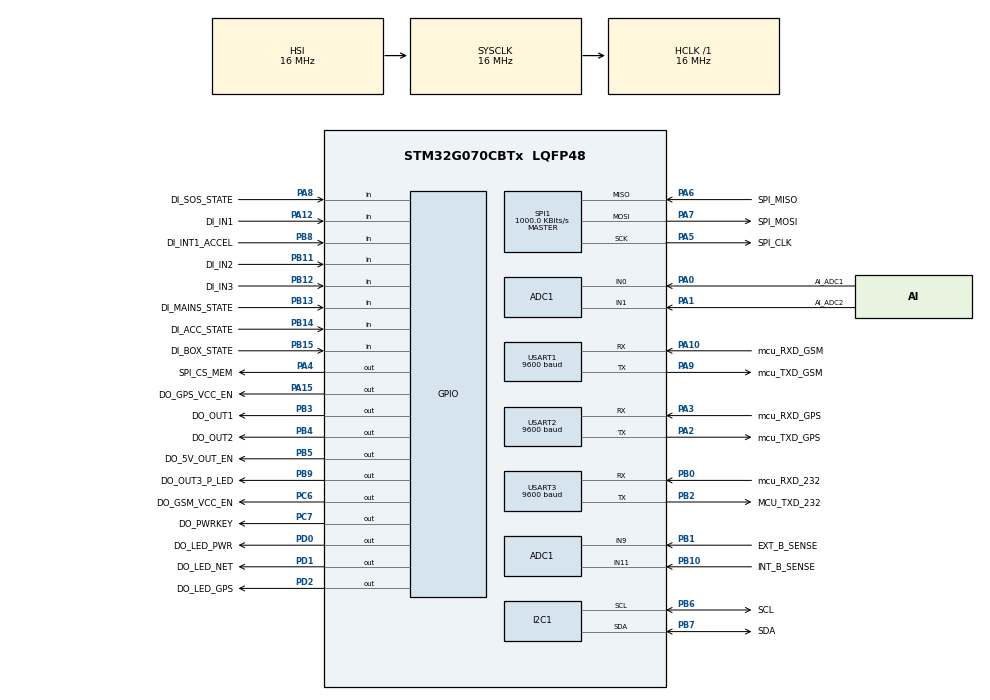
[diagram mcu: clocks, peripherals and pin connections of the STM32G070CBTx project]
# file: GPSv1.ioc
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ADC1.Channel-1\#ChannelRegularConversion=ADC_CHANNEL_1
ADC1.Channel-2\#ChannelRegularConversion=ADC_CHANNEL_9
ADC1.Channel-3\#ChannelRegularConversion=ADC_CHANNEL_11
ADC1.NbrOfConversion=4
ADC1.NbrOfConversionFlag=1
ADC1.Rank-1\#ChannelRegularConversion=2
ADC1.Rank-2\#ChannelRegularConversion=3
ADC1.Rank-3\#ChannelRegularConversion=4
ADC1.SamplingTime-1\#ChannelRegularConversion=ADC_SAMPLINGTIME_COMMON_1
ADC1.SamplingTime-2\#ChannelRegularConversion=ADC_SAMPLINGTIME_COMMON_1
ADC1.SamplingTime-3\#ChannelRegularConversion=ADC_SAMPLINGTIME_COMMON_1
ADC1.master=1
Dma.ADC1.0.Direction=DMA_PERIPH_TO_MEMORY
Dma.ADC1.0.EventEnable=DISABLE
Dma.ADC1.0.Instance=DMA1_Channel1
Dma.ADC1.0.MemDataAlignment=DMA_MDATAALIGN_WORD
Dma.ADC1.0.MemInc=DMA_MINC_ENABLE
Dma.ADC1.0.Mode=DMA_CIRCULAR
Dma.ADC1.0.PeriphDataAlignment=DMA_PDATAALIGN_WORD
Dma.ADC1.0.PeriphInc=DMA_PINC_DISABLE
Dma.ADC1.0.Polarity=HAL_DMAMUX_REQ_GEN_RISING
Dma.ADC1.0.Priority=DMA_PRIORITY_LOW
Dma.ADC1.0.RequestNumber=1
Dma.ADC1.0.SignalID=NONE
Dma.ADC1.0.SyncEnable=ENABLE
Dma.ADC1.0.SyncPolarity=HAL_DMAMUX_SYNC_RISING
Dma.ADC1.0.SyncRequestNumber=1
Dma.ADC1.0.SyncSignalID=NONE
Dma.Request0=ADC1
Dma.Request1=USART1_RX
Dma.Request2=USART2_RX
Dma.Request3=USART3_TX
Dma.USART1_RX.1.Direction=DMA_PERIPH_TO_MEMORY
Dma.USART1_RX.1.EventEnable=DISABLE
Dma.USART1_RX.1.Instance=DMA1_Channel2
Dma.USART1_RX.1.MemDataAlignment=DMA_MDATAALIGN_BYTE
Dma.USART1_RX.1.MemInc=DMA_MINC_ENABLE
Dma.USART1_RX.1.Mode=DMA_NORMAL
Dma.USART1_RX.1.PeriphDataAlignment=DMA_PDATAALIGN_BYTE
Dma.USART1_RX.1.PeriphInc=DMA_PINC_DISABLE
Dma.USART1_RX.1.Polarity=HAL_DMAMUX_REQ_GEN_RISING
Dma.USART1_RX.1.Priority=DMA_PRIORITY_LOW
Dma.USART1_RX.1.RequestNumber=1
Dma.USART1_RX.1.SignalID=NONE
Dma.USART1_RX.1.SyncEnable=DISABLE
Dma.USART1_RX.1.SyncPolarity=HAL_DMAMUX_SYNC_NO_EVENT
Dma.USART1_RX.1.SyncRequestNumber=1
Dma.USART1_RX.1.SyncSignalID=NONE
Dma.USART2_RX.2.Direction=DMA_PERIPH_TO_MEMORY
Dma.USART2_RX.2.EventEnable=DISABLE
Dma.USART2_RX.2.Instance=DMA1_Channel3
Dma.USART2_RX.2.MemDataAlignment=DMA_MDATAALIGN_BYTE
Dma.USART2_RX.2.MemInc=DMA_MINC_ENABLE
Dma.USART2_RX.2.Mode=DMA_NORMAL
Dma.USART2_RX.2.PeriphDataAlignment=DMA_PDATAALIGN_BYTE
Dma.USART2_RX.2.PeriphInc=DMA_PINC_DISABLE
Dma.USART2_RX.2.Polarity=HAL_DMAMUX_REQ_GEN_RISING
Dma.USART2_RX.2.Priority=DMA_PRIORITY_LOW
Dma.USART2_RX.2.RequestNumber=1
Dma.USART2_RX.2.SignalID=NONE
Dma.USART2_RX.2.SyncEnable=DISABLE
Dma.USART2_RX.2.SyncPolarity=HAL_DMAMUX_SYNC_NO_EVENT
Dma.USART2_RX.2.SyncRequestNumber=1
Dma.USART2_RX.2.SyncSignalID=NONE
Dma.USART3_TX.3.Direction=DMA_MEMORY_TO_PERIPH
Dma.USART3_TX.3.EventEnable=DISABLE
Dma.USART3_TX.3.Instance=DMA1_Channel4
Dma.USART3_TX.3.MemDataAlignment=DMA_MDATAALIGN_BYTE
Dma.USART3_TX.3.MemInc=DMA_MINC_ENABLE
Dma.USART3_TX.3.Mode=DMA_NORMAL
Dma.USART3_TX.3.PeriphDataAlignment=DMA_PDATAALIGN_BYTE
Dma.USART3_TX.3.PeriphInc=DMA_PINC_DISABLE
Dma.USART3_TX.3.Polarity=HAL_DMAMUX_REQ_GEN_RISING
Dma.USART3_TX.3.Priority=DMA_PRIORITY_LOW
Dma.USART3_TX.3.RequestNumber=1
Dma.USART3_TX.3.SignalID=NONE
Dma.USART3_TX.3.SyncEnable=DISABLE
Dma.USART3_TX.3.SyncPolarity=HAL_DMAMUX_SYNC_NO_EVENT
Dma.USART3_TX.3.SyncRequestNumber=1
Dma.USART3_TX.3.SyncSignalID=NONE
I2C1.Timing=0x00000E14
Mcu.Family=STM32G0
Mcu.Name=STM32G070CBTx
Mcu.Package=LQFP48
NRST.GPIO_Label=MRST
NRST.GPIO_ModeDefaultEXTI=GPIO_MODE_IT_RISING
NRST.GPIO_PuPd=GPIO_NOPULL
NRST.Signal=GPXTINRST
NVIC.DMA1_Ch4_7_DMAMUX1_OVR_IRQn=true\:0\:0\:false\:false\:true\:false\:true
NVIC.DMA1_Channel1_IRQn=true\:0\:0\:false\:false\:true\:false\:true
NVIC.DMA1_Channel2_3_IRQn=true\:0\:0\:false\:false\:true\:false\:true
NVIC.TIM6_IRQn=true\:0\:0\:false\:false\:true\:true\:true
NVIC.USART1_IRQn=true\:0\:0\:false\:false\:true\:true\:true
NVIC.USART2_IRQn=true\:0\:0\:false\:false\:true\:true\:true
NVIC.USART3_4_IRQn=true\:0\:0\:false\:false\:true\:true\:true
PA0.GPIO_Label=AI_ADC1
PA0.GPIO_Mode=GPIO_MODE_ANALOG
PA0.GPIO_PuPd=GPIO_NOPULL
PA0.Signal=SharedAnalog_PA0
PA1.GPIO_Label=AI_ADC2
PA1.GPIO_Mode=GPIO_MODE_ANALOG
PA1.GPIO_PuPd=GPIO_NOPULL
PA1.Signal=SharedAnalog_PA1
PA10.GPIO_FMPA10=__NULL
PA10.GPIO_Label=mcu_RXD_GSM
PA10.GPIO_ModeDefaultPP=GPIO_MODE_AF_PP
PA10.GPIO_PuPd=GPIO_NOPULL
PA10.GPIO_Speed=GPIO_SPEED_FREQ_LOW
PA10.Mode=Asynchronous
PA10.Signal=USART1_RX
PA12\ [PA10].GPIO_Label=DI_IN1
PA12\ [PA10].GPIO_Mode=GPIO_MODE_INPUT
PA12\ [PA10].GPIO_PuPd=GPIO_NOPULL
PA12\ [PA10].Signal=GPIO_Input
PA13.GPIO_Label=SWDIO
PA13.Mode=Serial_Wire
PA13.Signal=SYS_SWDIO
PA14-BOOT0.GPIO_Label=SWCLK
PA14-BOOT0.Mode=Serial_Wire
PA14-BOOT0.Signal=SYS_SWCLK
PA15.GPIO_Label=DO_GPS_VCC_EN
PA15.GPIO_ModeDefaultOutputPP=GPIO_MODE_OUTPUT_PP
PA15.GPIO_PuPd=GPIO_NOPULL
PA15.GPIO_Speed=GPIO_SPEED_FREQ_LOW
PA15.PinState=GPIO_PIN_RESET
PA15.Signal=GPIO_Output
PA2.GPIO_Label=mcu_TXD_GPS
PA2.GPIO_ModeDefaultPP=GPIO_MODE_AF_PP
PA2.GPIO_PuPd=GPIO_NOPULL
PA2.GPIO_Speed=GPIO_SPEED_FREQ_LOW
PA2.Mode=Asynchronous
PA2.PinState=GPIO_PIN_RESET
PA2.Signal=USART2_TX
PA3.GPIO_Label=mcu_RXD_GPS
PA3.GPIO_ModeDefaultPP=GPIO_MODE_AF_PP
PA3.GPIO_PuPd=GPIO_NOPULL
PA3.GPIO_Speed=GPIO_SPEED_FREQ_LOW
PA3.Mode=Asynchronous
PA3.PinState=GPIO_PIN_RESET
PA3.Signal=USART2_RX
PA4.GPIO_Label=SPI_CS_MEM
PA4.Signal=GPIO_Output
PA5.GPIO_Label=SPI_CLK
PA5.GPIO_Mode=GPIO_MODE_AF_PP
PA5.GPIO_PuPd=GPIO_NOPULL
PA5.GPIO_Speed=GPIO_SPEED_FREQ_LOW
PA5.Mode=Full_Duplex_Master
PA5.PinState=GPIO_PIN_RESET
PA5.Signal=SPI1_SCK
PA6.GPIO_Label=SPI_MISO
PA6.GPIO_Mode=GPIO_MODE_AF_PP
PA6.GPIO_PuPd=GPIO_NOPULL
PA6.GPIO_Speed=GPIO_SPEED_FREQ_LOW
PA6.Mode=Full_Duplex_Master
PA6.PinState=GPIO_PIN_RESET
PA6.Signal=SPI1_MISO
PA7.GPIO_Label=SPI_MOSI
PA7.GPIO_Mode=GPIO_MODE_AF_PP
PA7.GPIO_PuPd=GPIO_NOPULL
PA7.GPIO_Speed=GPIO_SPEED_FREQ_LOW
PA7.Mode=Full_Duplex_Master
PA7.PinState=GPIO_PIN_RESET
PA7.Signal=SPI1_MOSI
PA8.GPIO_Label=DI_SOS_STATE
PA8.GPIO_Mode=GPIO_MODE_INPUT
PA8.GPIO_PuPd=GPIO_NOPULL
PA8.Signal=GPIO_Input
PA9.GPIO_FMPA9=__NULL
PA9.GPIO_Label=mcu_TXD_GSM
PA9.GPIO_ModeDefaultPP=GPIO_MODE_AF_PP
PA9.GPIO_PuPd=GPIO_NOPULL
PA9.GPIO_Speed=GPIO_SPEED_FREQ_LOW
PA9.Mode=Asynchronous
PA9.Signal=USART1_TX
PB0.GPIO_Label=mcu_RXD_232
PB0.GPIO_ModeDefaultPP=GPIO_MODE_AF_PP
PB0.GPIO_PuPd=GPIO_NOPULL
PB0.GPIO_Speed=GPIO_SPEED_FREQ_LOW
PB0.Mode=Asynchronous
PB0.PinState=GPIO_PIN_RESET
PB0.Signal=USART3_RX
PB1.GPIO_Label=EXT_B_SENSE
PB1.GPIO_Mode=GPIO_MODE_ANALOG
PB1.GPIO_PuPd=GPIO_NOPULL
PB1.Signal=SharedAnalog_PB1
PB10.GPIO_Label=INT_B_SENSE
PB10.GPIO_Mode=GPIO_MODE_ANALOG
PB10.GPIO_PuPd=GPIO_NOPULL
PB10.Signal=SharedAnalog_PB10
PB11.GPIO_Label=DI_IN2
PB11.GPIO_Mode=GPIO_MODE_INPUT
PB11.GPIO_PuPd=GPIO_NOPULL
PB11.Signal=GPIO_Input
PB12.GPIO_Label=DI_IN3
PB12.GPIO_Mode=GPIO_MODE_INPUT
PB12.GPIO_PuPd=GPIO_NOPULL
PB12.Signal=GPIO_Input
PB13.GPIO_Label=DI_MAINS_STATE
PB13.GPIO_Mode=GPIO_MODE_INPUT
PB13.GPIO_PuPd=GPIO_NOPULL
PB13.Signal=GPIO_Input
PB14.GPIO_Label=DI_ACC_STATE
PB14.GPIO_Mode=GPIO_MODE_INPUT
PB14.GPIO_PuPd=GPIO_NOPULL
PB14.Signal=GPIO_Input
PB15.GPIO_Label=DI_BOX_STATE
PB15.GPIO_Mode=GPIO_MODE_INPUT
PB15.GPIO_PuPd=GPIO_NOPULL
PB15.Signal=GPIO_Input
PB2.GPIO_Label=MCU_TXD_232
PB2.GPIO_ModeDefaultPP=GPIO_MODE_AF_PP
PB2.GPIO_PuPd=GPIO_NOPULL
PB2.GPIO_Speed=GPIO_SPEED_FREQ_LOW
PB2.Mode=Asynchronous
PB2.PinState=GPIO_PIN_RESET
PB2.Signal=USART3_TX
PB3.GPIO_Label=DO_OUT1
PB3.GPIO_ModeDefaultOutputPP=GPIO_MODE_OUTPUT_PP
PB3.GPIO_PuPd=GPIO_NOPULL
PB3.GPIO_Speed=GPIO_SPEED_FREQ_LOW
PB3.PinState=GPIO_PIN_RESET
PB3.Signal=GPIO_Output
PB4.GPIO_Label=DO_OUT2
PB4.GPIO_ModeDefaultOutputPP=GPIO_MODE_OUTPUT_PP
PB4.GPIO_PuPd=GPIO_NOPULL
PB4.GPIO_Speed=GPIO_SPEED_FREQ_LOW
PB4.PinState=GPIO_PIN_RESET
PB4.Signal=GPIO_Output
PB5.GPIO_Label=DO_5V_OUT_EN
PB5.GPIO_ModeDefaultOutputPP=GPIO_MODE_OUTPUT_PP
PB5.GPIO_PuPd=GPIO_NOPULL
PB5.GPIO_Speed=GPIO_SPEED_FREQ_LOW
PB5.PinState=GPIO_PIN_RESET
PB5.Signal=GPIO_Output
PB6.GPIO_FM6=__NULL
PB6.GPIO_Label=SCL
PB6.GPIO_Mode=GPIO_MODE_AF_OD
PB6.GPIO_PuPdOD=GPIO_PULLUP
PB6.GPIO_Speed=GPIO_SPEED_FREQ_LOW
PB6.Mode=I2C
PB6.Signal=I2C1_SCL
PB7.GPIO_FM7=__NULL
PB7.GPIO_Label=SDA
PB7.GPIO_Mode=GPIO_MODE_AF_OD
PB7.GPIO_PuPdOD=GPIO_PULLUP
PB7.GPIO_Speed=GPIO_SPEED_FREQ_LOW
PB7.Mode=I2C
PB7.Signal=I2C1_SDA
PB8.GPIO_Label=DI_INT1_ACCEL
PB8.GPIO_Mode=GPIO_MODE_INPUT
PB8.GPIO_PuPd=GPIO_NOPULL
PB8.Signal=GPIO_Input
PB9.GPIO_FM9=__NULL
PB9.GPIO_Label=DO_OUT3_P_LED
PB9.GPIO_ModeDefaultOutputPP=GPIO_MODE_OUTPUT_PP
PB9.GPIO_PuPd=GPIO_NOPULL
PB9.GPIO_Speed=GPIO_SPEED_FREQ_LOW
PB9.PinState=GPIO_PIN_RESET
PB9.Signal=GPIO_Output
PC14-OSC32_IN\ (PC14).GPIO_Label=OSC32_IN
PC14-OSC32_IN\ (PC14).Mode=LSE-External-Oscillator
PC14-OSC32_IN\ (PC14).Signal=RCC_OSC32_IN
PC15-OSC32_OUT\ (PC15).GPIO_Label=OSC32_OUT
PC15-OSC32_OUT\ (PC15).Mode=LSE-External-Oscillator
PC15-OSC32_OUT\ (PC15).Signal=RCC_OSC32_OUT
PC6.GPIO_Label=DO_GSM_VCC_EN
PC6.GPIO_ModeDefaultOutputPP=GPIO_MODE_OUTPUT_PP
PC6.GPIO_PuPd=GPIO_NOPULL
PC6.GPIO_Speed=GPIO_SPEED_FREQ_LOW
PC6.PinState=GPIO_PIN_RESET
PC6.Signal=GPIO_Output
PC7.GPIO_Label=DO_PWRKEY
PC7.GPIO_ModeDefaultOutputPP=GPIO_MODE_OUTPUT_PP
PC7.GPIO_PuPd=GPIO_NOPULL
PC7.GPIO_Speed=GPIO_SPEED_FREQ_LOW
PC7.PinState=GPIO_PIN_RESET
PC7.Signal=GPIO_Output
PD0.GPIO_Label=DO_LED_PWR
PD0.GPIO_ModeDefaultOutputPP=GPIO_MODE_OUTPUT_PP
PD0.GPIO_PuPd=GPIO_NOPULL
PD0.GPIO_Speed=GPIO_SPEED_FREQ_LOW
PD0.PinState=GPIO_PIN_RESET
PD0.Signal=GPIO_Output
PD1.GPIO_Label=DO_LED_NET
PD1.GPIO_ModeDefaultOutputPP=GPIO_MODE_OUTPUT_PP
PD1.GPIO_PuPd=GPIO_NOPULL
PD1.GPIO_Speed=GPIO_SPEED_FREQ_LOW
PD1.PinState=GPIO_PIN_RESET
PD1.Signal=GPIO_Output
PD2.GPIO_Label=DO_LED_GPS
PD2.GPIO_ModeDefaultOutputPP=GPIO_MODE_OUTPUT_PP
PD2.GPIO_PuPd=GPIO_NOPULL
PD2.GPIO_Speed=GPIO_SPEED_FREQ_LOW
PD2.PinState=GPIO_PIN_RESET
PD2.Signal=GPIO_Output
PF0-OSC_IN\ (PF0).GPIO_Label=OSC_IN
PF0-OSC_IN\ (PF0).Mode=HSE-External-Oscillator
PF0-OSC_IN\ (PF0).Signal=RCC_OSC_IN
PF1-OSC_OUT\ (PF1).GPIO_Label=OSC_OUT
PF1-OSC_OUT\ (PF1).Mode=HSE-External-Oscillator
PF1-OSC_OUT\ (PF1).Signal=RCC_OSC_OUT
ProjectManager.HeapSize=0x200
ProjectManager.StackSize=0x400
ProjectManager.TargetToolchain=TrueSTUDIO
RCC.ADCFreq_Value=16000000
RCC.AHBFreq_Value=16000000
RCC.APB1CLKDivider=RCC_HCLK_DIV4
RCC.CortexFreq_Value=16000000
RCC.EXTERNAL_CLOCK_VALUE=48000
RCC.HCLKFreq_Value=16000000
RCC.HSE_VALUE=8000000
RCC.HSI_VALUE=16000000
RCC.SYSCLKFreq_VALUE=16000000
RCC.VCOOutputFreq_Value=128000000
SH.SharedAnalog_PA0.0=GPIO_Analog
SH.SharedAnalog_PA0.1=ADC1_IN0,IN0
SH.SharedAnalog_PA1.0=GPIO_Analog
SH.SharedAnalog_PA1.1=ADC1_IN1,IN1
SH.SharedAnalog_PB1.0=GPIO_Analog
SH.SharedAnalog_PB1.1=ADC1_IN9,IN9
SH.SharedAnalog_PB10.0=GPIO_Analog
SH.SharedAnalog_PB10.1=ADC1_IN11,IN11
SPI1.BaudRatePrescaler=SPI_BAUDRATEPRESCALER_4
SPI1.CalculateBaudRate=1000.0 KBits/s
SPI1.DataSize=SPI_DATASIZE_8BIT
SPI1.Direction=SPI_DIRECTION_2LINES
SPI1.Mode=SPI_MODE_MASTER
SPI1.VirtualType=VM_MASTER
TIM6.Period=500-1
TIM6.Prescaler=8000-1
USART1.BaudRate=9600
USART1.VirtualMode-Asynchronous=VM_ASYNC
USART1.WordLength=WORDLENGTH_8B
USART2.BaudRate=9600
USART2.VirtualMode-Asynchronous=VM_ASYNC
USART2.WordLength=WORDLENGTH_8B
USART3.BaudRate=9600
USART3.VirtualMode-Asynchronous=VM_ASYNC
USART3.WordLength=WORDLENGTH_8B
VP_SYS_VS_DBSignals.Mode=DisableDeadBatterySignals
VP_TIM6_VS_ClockSourceINT.Mode=Enable_Timer
board=custom

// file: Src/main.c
/* USER CODE BEGIN Header */
/**
  ******************************************************************************
  * @file           : main.c
  * @brief          : Main program body
  ******************************************************************************
  * @attention
  *
  * <h2><center>&copy; Copyright (c) 2021 STMicroelectronics.
  * All rights reserved.</center></h2>
  *
  * This software component is licensed by ST under BSD 3-Clause license,
  * the "License"; You may not use this file except in compliance with the
  * License. You may obtain a copy of the License at:
  *                        opensource.org/licenses/BSD-3-Clause
  *
  ******************************************************************************
  */
/* USER CODE END Header */

#include "main.h"

/* USER CODE BEGIN PD */
float SpeedThr=80;
char DataString[300];
char GPSString[100];
char GPSLine[100];
int GPSLineN=0;
int seqNo=0;
int gpsSt=0;
char Regno[20];
char IMEI[20];
char in3[1000];
char inn[2];
char INSMSno[30];
char OUTSMSno[30];
char EmgIP[50];
char RegIP[50];
char TracIP[50];
int AccGyroStatus=0;
int AccGyroStatus1=0;
char simop[25];
int TimeCount=0;
int RunCnt=0;
int DMAon=1;
//"","6055",
/* USER CODE END PD */

ADC_HandleTypeDef hadc1;
DMA_HandleTypeDef hdma_adc1;

I2C_HandleTypeDef hi2c1;

SPI_HandleTypeDef hspi1;

TIM_HandleTypeDef htim6;

UART_HandleTypeDef huart1;
UART_HandleTypeDef huart2;
UART_HandleTypeDef huart3;
DMA_HandleTypeDef hdma_usart1_rx;
DMA_HandleTypeDef hdma_usart2_rx;
DMA_HandleTypeDef hdma_usart3_tx;

void SystemClock_Config(void);
static void MX_GPIO_Init(void);
static void MX_DMA_Init(void);
static void MX_ADC1_Init(void);
static void MX_I2C1_Init(void);
static void MX_SPI1_Init(void);
static void MX_TIM6_Init(void);
static void MX_USART1_UART_Init(void);
static void MX_USART2_UART_Init(void);
static void MX_USART3_UART_Init(void);
/* USER CODE BEGIN PFP */

static void Debug_Tx(char[]);
static char* Debug_Rx(void);
static void GSM_Tx(const char[]);
//static void GPS_Tx(const char[]);
static void GSM_TxL(const char[]);
//static char* GSM_Rx(void);
//static char* GSM_RxL(void);
float stor(const char*);
void initFirstRun(void);
void Run(void);
void timedWork(void);
void TestRun(void);
void ReadAllGPIO(void);

/* USER CODE END PFP */

/* USER CODE BEGIN 0 */

#include <string.h>
#include <math.h>
#include "gpio.h"
#include "gsm.h"
#include "mem.h"
#include "acc.h"
#include "gps.h"
#include "testCode.h"
#include "runtime.h"
#include "FOTA.h"

/* USER CODE END 0 */

int main(void)
{

  /* MCU Configuration--------------------------------------------------------*/

  /* Reset of all peripherals, Initializes the Flash interface and the Systick. */
  HAL_Init();

  /* Configure the system clock */
  SystemClock_Config();

  /* Initialize all configured peripherals */
  MX_GPIO_Init();
  MX_DMA_Init();
  MX_ADC1_Init();
  MX_I2C1_Init();
  MX_SPI1_Init();
  MX_TIM6_Init();
  MX_USART1_UART_Init();
  MX_USART2_UART_Init();
  MX_USART3_UART_Init();
  /* USER CODE BEGIN 2 */
  testBlink();
}
void other(){

  SET_5V_OUT_EN(1);
  SET_GPS_VCC_EN(1);
  SET_GSM_VCC_EN(1);
  SET_PWRKEY(1);

  initGPS();

  //GSM Init Block
    GSMBuff[0]=0;
	__HAL_UART_CLEAR_IT(&huart1, UART_CLEAR_NEF|UART_CLEAR_OREF);
	HAL_UART_Receive_DMA(&huart1, GSMBuff, 1);
    Debug_Tx("---------GSM init start");

   int nn=tic();
	HAL_Delay(3000);
   InitGSM();
   toc(nn,"_________________________GSM INIT");

	    memset((char*)gpsData,0,1000);
	    __HAL_UART_CLEAR_IT(&huart2, UART_CLEAR_NEF|UART_CLEAR_OREF);
	    HAL_UART_Receive_DMA(&huart2, gpsData, 900);

  /*SendGSMCode(" ATE0");
	HAL_Delay(15000);

  while(1){GSMSimOperatorChkList();
	HAL_Delay(15000);
  }
*/

  //SetupGPRS("bsnlnet");//taisysnet");
  Debug_Tx("----------GSM init done");
  //END GSM Init Block

  // Memory init block
  initFirstRun();
  GetLastAddress();
  InitMEMQ();
  // END Memory init block

  initAcc();
  Init_ADC();

	HAL_Delay(10000);

  memset(IMEI,0,20);
  memset(Regno,0,20);
  memset(INSMSno,0,30);
  memset(OUTSMSno,0,30);
  memset(EmgIP,0,50);
  memset(RegIP,0,50);
  memset(TracIP,0,50);
  memset(simop,0,25);

  strcpy(IMEI,GSMIMEI());
  strcpy(Regno,readRegNo());
  strcpy(INSMSno,readINSMSno());
  strcpy(OUTSMSno,readOUTSMSno());
  strcpy(EmgIP,readEmgIP());
  strcpy(RegIP,readRegIP());
  strcpy(TracIP,readTracIP());
  strcpy(simop, GSMSimOperator());
  strcpy(simop, GSMSimOperator());
  strcpy(simop, GSMSimOperator());
  Debug_Tx("IMEI:");
  Debug_Tx(IMEI);
  Debug_Tx("RegNo:");
  Debug_Tx(Regno);

  StartTCPConnection();
  gpsSt=0;

  /* USER CODE END 2 */

  /* Infinite loop */
  /* USER CODE BEGIN WHILE */
  while (1){

	  HAL_UART_Receive_DMA(&huart2, gpsData, 900);
		HAL_GPIO_TogglePin(GPIOD, DO_LED_PWR_Pin);
	  int whiletotal=tic();
	  //int whilesigQ=tic();
	  //timedWork();
	  GSMSigQuality();
	  //printFlt(GSMSigQuality());//Debug_Tx("__________");
	  //toc(whilesigQ,"_________________________While loop SignalQ");
	  //timedWork();
	  //%%%%%%%    GPS Read    %%%%%%
	  //int whileGPS=tic();

	  //toc(whileGPS,"_________________________While loop GPS");
	  TestRun();
	  toc(whiletotal,"_________________________While loop Total");

    /* USER CODE END WHILE */

  }
}

void SystemClock_Config(void)
{
  RCC_OscInitTypeDef RCC_OscInitStruct = {0};
  RCC_ClkInitTypeDef RCC_ClkInitStruct = {0};
  RCC_PeriphCLKInitTypeDef PeriphClkInit = {0};

  /** Configure the main internal regulator output voltage
  */
  HAL_PWREx_ControlVoltageScaling(PWR_REGULATOR_VOLTAGE_SCALE1);
  /** Initializes the CPU, AHB and APB busses clocks
  */
  RCC_OscInitStruct.OscillatorType = RCC_OSCILLATORTYPE_HSI;
  RCC_OscInitStruct.HSIState = RCC_HSI_ON;
  RCC_OscInitStruct.HSIDiv = RCC_HSI_DIV1;
  RCC_OscInitStruct.HSICalibrationValue = RCC_HSICALIBRATION_DEFAULT;
  RCC_OscInitStruct.PLL.PLLState = RCC_PLL_NONE;
  if (HAL_RCC_OscConfig(&RCC_OscInitStruct) != HAL_OK)
  {
    Error_Handler();
  }
  /** Initializes the CPU, AHB and APB busses clocks
  */
  RCC_ClkInitStruct.ClockType = RCC_CLOCKTYPE_HCLK|RCC_CLOCKTYPE_SYSCLK
                              |RCC_CLOCKTYPE_PCLK1;
  RCC_ClkInitStruct.SYSCLKSource = RCC_SYSCLKSOURCE_HSI;
  RCC_ClkInitStruct.AHBCLKDivider = RCC_SYSCLK_DIV1;
  RCC_ClkInitStruct.APB1CLKDivider = RCC_HCLK_DIV4;

  if (HAL_RCC_ClockConfig(&RCC_ClkInitStruct, FLASH_LATENCY_0) != HAL_OK)
  {
    Error_Handler();
  }
  /** Initializes the peripherals clocks
  */
  PeriphClkInit.PeriphClockSelection = RCC_PERIPHCLK_USART1|RCC_PERIPHCLK_USART2
                              |RCC_PERIPHCLK_I2C1|RCC_PERIPHCLK_ADC;
  PeriphClkInit.Usart1ClockSelection = RCC_USART1CLKSOURCE_PCLK1;
  PeriphClkInit.Usart2ClockSelection = RCC_USART2CLKSOURCE_PCLK1;
  PeriphClkInit.I2c1ClockSelection = RCC_I2C1CLKSOURCE_PCLK1;
  PeriphClkInit.AdcClockSelection = RCC_ADCCLKSOURCE_SYSCLK;
  if (HAL_RCCEx_PeriphCLKConfig(&PeriphClkInit) != HAL_OK)
  {
    Error_Handler();
  }
}

static void MX_ADC1_Init(void)
{

  ADC_ChannelConfTypeDef sConfig = {0};

  /** Configure the global features of the ADC (Clock, Resolution, Data Alignment and number of conversion)
  */
  hadc1.Instance = ADC1;
  hadc1.Init.ClockPrescaler = ADC_CLOCK_SYNC_PCLK_DIV2;
  hadc1.Init.Resolution = ADC_RESOLUTION_12B;
  hadc1.Init.DataAlign = ADC_DATAALIGN_RIGHT;
  hadc1.Init.ScanConvMode = ADC_SCAN_ENABLE;
  hadc1.Init.EOCSelection = ADC_EOC_SINGLE_CONV;
  hadc1.Init.LowPowerAutoWait = DISABLE;
  hadc1.Init.LowPowerAutoPowerOff = DISABLE;
  hadc1.Init.ContinuousConvMode = DISABLE;
  hadc1.Init.NbrOfConversion = 4;
  hadc1.Init.DiscontinuousConvMode = DISABLE;
  hadc1.Init.ExternalTrigConv = ADC_SOFTWARE_START;
  hadc1.Init.ExternalTrigConvEdge = ADC_EXTERNALTRIGCONVEDGE_NONE;
  hadc1.Init.DMAContinuousRequests = DISABLE;
  hadc1.Init.Overrun = ADC_OVR_DATA_PRESERVED;
  hadc1.Init.SamplingTimeCommon1 = ADC_SAMPLETIME_1CYCLE_5;
  hadc1.Init.SamplingTimeCommon2 = ADC_SAMPLETIME_1CYCLE_5;
  hadc1.Init.OversamplingMode = DISABLE;
  hadc1.Init.TriggerFrequencyMode = ADC_TRIGGER_FREQ_HIGH;
  if (HAL_ADC_Init(&hadc1) != HAL_OK)
  {
    Error_Handler();
  }
  /** Configure Regular Channel
  */
  sConfig.Channel = ADC_CHANNEL_1;
  sConfig.Rank = ADC_REGULAR_RANK_2;
  sConfig.SamplingTime = ADC_SAMPLINGTIME_COMMON_1;
  if (HAL_ADC_ConfigChannel(&hadc1, &sConfig) != HAL_OK)
  {
    Error_Handler();
  }
  /** Configure Regular Channel
  */
  sConfig.Channel = ADC_CHANNEL_9;
  sConfig.Rank = ADC_REGULAR_RANK_3;
  if (HAL_ADC_ConfigChannel(&hadc1, &sConfig) != HAL_OK)
  {
    Error_Handler();
  }
  /** Configure Regular Channel
  */
  sConfig.Channel = ADC_CHANNEL_11;
  sConfig.Rank = ADC_REGULAR_RANK_4;
  if (HAL_ADC_ConfigChannel(&hadc1, &sConfig) != HAL_OK)
  {
    Error_Handler();
  }

}

static void MX_I2C1_Init(void)
{

  hi2c1.Instance = I2C1;
  hi2c1.Init.Timing = 0x00000E14;
  hi2c1.Init.OwnAddress1 = 0;
  hi2c1.Init.AddressingMode = I2C_ADDRESSINGMODE_7BIT;
  hi2c1.Init.DualAddressMode = I2C_DUALADDRESS_DISABLE;
  hi2c1.Init.OwnAddress2 = 0;
  hi2c1.Init.OwnAddress2Masks = I2C_OA2_NOMASK;
  hi2c1.Init.GeneralCallMode = I2C_GENERALCALL_DISABLE;
  hi2c1.Init.NoStretchMode = I2C_NOSTRETCH_DISABLE;
  if (HAL_I2C_Init(&hi2c1) != HAL_OK)
  {
    Error_Handler();
  }
  /** Configure Analogue filter
  */
  if (HAL_I2CEx_ConfigAnalogFilter(&hi2c1, I2C_ANALOGFILTER_ENABLE) != HAL_OK)
  {
    Error_Handler();
  }
  /** Configure Digital filter
  */
  if (HAL_I2CEx_ConfigDigitalFilter(&hi2c1, 0) != HAL_OK)
  {
    Error_Handler();
  }

}

static void MX_SPI1_Init(void)
{

  /* SPI1 parameter configuration*/
  hspi1.Instance = SPI1;
  hspi1.Init.Mode = SPI_MODE_MASTER;
  hspi1.Init.Direction = SPI_DIRECTION_2LINES;
  hspi1.Init.DataSize = SPI_DATASIZE_8BIT;
  hspi1.Init.CLKPolarity = SPI_POLARITY_LOW;
  hspi1.Init.CLKPhase = SPI_PHASE_1EDGE;
  hspi1.Init.NSS = SPI_NSS_SOFT;
  hspi1.Init.BaudRatePrescaler = SPI_BAUDRATEPRESCALER_4;
  hspi1.Init.FirstBit = SPI_FIRSTBIT_MSB;
  hspi1.Init.TIMode = SPI_TIMODE_DISABLE;
  hspi1.Init.CRCCalculation = SPI_CRCCALCULATION_DISABLE;
  hspi1.Init.CRCPolynomial = 7;
  hspi1.Init.CRCLength = SPI_CRC_LENGTH_DATASIZE;
  hspi1.Init.NSSPMode = SPI_NSS_PULSE_ENABLE;
  if (HAL_SPI_Init(&hspi1) != HAL_OK)
  {
    Error_Handler();
  }

}

static void MX_TIM6_Init(void)
{

  TIM_MasterConfigTypeDef sMasterConfig = {0};

  htim6.Instance = TIM6;
  htim6.Init.Prescaler = 8000-1;
  htim6.Init.CounterMode = TIM_COUNTERMODE_UP;
  htim6.Init.Period = 500-1;
  htim6.Init.AutoReloadPreload = TIM_AUTORELOAD_PRELOAD_DISABLE;
  if (HAL_TIM_Base_Init(&htim6) != HAL_OK)
  {
    Error_Handler();
  }
  sMasterConfig.MasterOutputTrigger = TIM_TRGO_RESET;
  sMasterConfig.MasterSlaveMode = TIM_MASTERSLAVEMODE_DISABLE;
  if (HAL_TIMEx_MasterConfigSynchronization(&htim6, &sMasterConfig) != HAL_OK)
  {
    Error_Handler();
  }

}

static void MX_USART1_UART_Init(void)
{

  huart1.Instance = USART1;
  huart1.Init.BaudRate = 9600;
  huart1.Init.WordLength = UART_WORDLENGTH_8B;
  huart1.Init.StopBits = UART_STOPBITS_1;
  huart1.Init.Parity = UART_PARITY_NONE;
  huart1.Init.Mode = UART_MODE_TX_RX;
  huart1.Init.HwFlowCtl = UART_HWCONTROL_NONE;
  huart1.Init.OverSampling = UART_OVERSAMPLING_16;
  huart1.Init.OneBitSampling = UART_ONE_BIT_SAMPLE_DISABLE;
  huart1.Init.ClockPrescaler = UART_PRESCALER_DIV1;
  huart1.AdvancedInit.AdvFeatureInit = UART_ADVFEATURE_NO_INIT;
  if (HAL_UART_Init(&huart1) != HAL_OK)
  {
    Error_Handler();
  }
  if (HAL_UARTEx_SetTxFifoThreshold(&huart1, UART_TXFIFO_THRESHOLD_1_8) != HAL_OK)
  {
    Error_Handler();
  }
  if (HAL_UARTEx_SetRxFifoThreshold(&huart1, UART_RXFIFO_THRESHOLD_1_8) != HAL_OK)
  {
    Error_Handler();
  }
  if (HAL_UARTEx_DisableFifoMode(&huart1) != HAL_OK)
  {
    Error_Handler();
  }

}

static void MX_USART2_UART_Init(void)
{

  huart2.Instance = USART2;
  huart2.Init.BaudRate = 9600;
  huart2.Init.WordLength = UART_WORDLENGTH_8B;
  huart2.Init.StopBits = UART_STOPBITS_1;
  huart2.Init.Parity = UART_PARITY_NONE;
  huart2.Init.Mode = UART_MODE_TX_RX;
  huart2.Init.HwFlowCtl = UART_HWCONTROL_NONE;
  huart2.Init.OverSampling = UART_OVERSAMPLING_16;
  huart2.Init.OneBitSampling = UART_ONE_BIT_SAMPLE_DISABLE;
  huart2.Init.ClockPrescaler = UART_PRESCALER_DIV1;
  huart2.AdvancedInit.AdvFeatureInit = UART_ADVFEATURE_NO_INIT;
  if (HAL_UART_Init(&huart2) != HAL_OK)
  {
    Error_Handler();
  }
  if (HAL_UARTEx_SetTxFifoThreshold(&huart2, UART_TXFIFO_THRESHOLD_1_8) != HAL_OK)
  {
    Error_Handler();
  }
  if (HAL_UARTEx_SetRxFifoThreshold(&huart2, UART_RXFIFO_THRESHOLD_1_8) != HAL_OK)
  {
    Error_Handler();
  }
  if (HAL_UARTEx_DisableFifoMode(&huart2) != HAL_OK)
  {
    Error_Handler();
  }

}

static void MX_USART3_UART_Init(void)
{

  huart3.Instance = USART3;
  huart3.Init.BaudRate = 9600;
  huart3.Init.WordLength = UART_WORDLENGTH_8B;
  huart3.Init.StopBits = UART_STOPBITS_1;
  huart3.Init.Parity = UART_PARITY_NONE;
  huart3.Init.Mode = UART_MODE_TX_RX;
  huart3.Init.HwFlowCtl = UART_HWCONTROL_NONE;
  huart3.Init.OverSampling = UART_OVERSAMPLING_16;
  huart3.Init.OneBitSampling = UART_ONE_BIT_SAMPLE_DISABLE;
  huart3.Init.ClockPrescaler = UART_PRESCALER_DIV1;
  huart3.AdvancedInit.AdvFeatureInit = UART_ADVFEATURE_NO_INIT;
  if (HAL_UART_Init(&huart3) != HAL_OK)
  {
    Error_Handler();
  }

}

static void MX_DMA_Init(void)
{

  /* DMA controller clock enable */
  __HAL_RCC_DMA1_CLK_ENABLE();

  /* DMA interrupt init */
  /* DMA1_Channel1_IRQn interrupt configuration */
  HAL_NVIC_SetPriority(DMA1_Channel1_IRQn, 0, 0);
  HAL_NVIC_EnableIRQ(DMA1_Channel1_IRQn);
  /* DMA1_Channel2_3_IRQn interrupt configuration */
  HAL_NVIC_SetPriority(DMA1_Channel2_3_IRQn, 0, 0);
  HAL_NVIC_EnableIRQ(DMA1_Channel2_3_IRQn);
  /* DMA1_Ch4_7_DMAMUX1_OVR_IRQn interrupt configuration */
  HAL_NVIC_SetPriority(DMA1_Ch4_7_DMAMUX1_OVR_IRQn, 0, 0);
  HAL_NVIC_EnableIRQ(DMA1_Ch4_7_DMAMUX1_OVR_IRQn);

}

static void MX_GPIO_Init(void)
{
  GPIO_InitTypeDef GPIO_InitStruct = {0};

  /* GPIO Ports Clock Enable */
  __HAL_RCC_GPIOC_CLK_ENABLE();
  __HAL_RCC_GPIOF_CLK_ENABLE();
  __HAL_RCC_GPIOA_CLK_ENABLE();
  __HAL_RCC_GPIOB_CLK_ENABLE();
  __HAL_RCC_GPIOD_CLK_ENABLE();

  /*Configure GPIO pin Output Level */
  HAL_GPIO_WritePin(GPIOA, SPI_CS_MEM_Pin|DO_GPS_VCC_EN_Pin, GPIO_PIN_RESET);

  /*Configure GPIO pin Output Level */
  HAL_GPIO_WritePin(GPIOC, DO_GSM_VCC_EN_Pin|DO_PWRKEY_Pin, GPIO_PIN_RESET);

  /*Configure GPIO pin Output Level */
  HAL_GPIO_WritePin(GPIOD, DO_LED_PWR_Pin|DO_LED_NET_Pin|DO_LED_GPS_Pin, GPIO_PIN_RESET);

  /*Configure GPIO pin Output Level */
  HAL_GPIO_WritePin(GPIOB, DO_OUT1_Pin|DO_OUT2_Pin|DO_5V_OUT_EN_Pin|DO_OUT3_P_LED_Pin, GPIO_PIN_RESET);

  /*Configure GPIO pins : AI_ADC1_Pin AI_ADC2_Pin */
  GPIO_InitStruct.Pin = AI_ADC1_Pin|AI_ADC2_Pin;
  GPIO_InitStruct.Mode = GPIO_MODE_ANALOG;
  GPIO_InitStruct.Pull = GPIO_NOPULL;
  HAL_GPIO_Init(GPIOA, &GPIO_InitStruct);

  /*Configure GPIO pins : SPI_CS_MEM_Pin DO_GPS_VCC_EN_Pin */
  GPIO_InitStruct.Pin = SPI_CS_MEM_Pin|DO_GPS_VCC_EN_Pin;
  GPIO_InitStruct.Mode = GPIO_MODE_OUTPUT_PP;
  GPIO_InitStruct.Pull = GPIO_NOPULL;
  GPIO_InitStruct.Speed = GPIO_SPEED_FREQ_LOW;
  HAL_GPIO_Init(GPIOA, &GPIO_InitStruct);

  /*Configure GPIO pins : EXT_B_SENSE_Pin INT_B_SENSE_Pin */
  GPIO_InitStruct.Pin = EXT_B_SENSE_Pin|INT_B_SENSE_Pin;
  GPIO_InitStruct.Mode = GPIO_MODE_ANALOG;
  GPIO_InitStruct.Pull = GPIO_NOPULL;
  HAL_GPIO_Init(GPIOB, &GPIO_InitStruct);

  /*Configure GPIO pins : DI_IN2_Pin DI_IN3_Pin DI_MAINS_STATE_Pin DI_ACC_STATE_Pin
                           DI_BOX_STATE_Pin DI_INT1_ACCEL_Pin */
  GPIO_InitStruct.Pin = DI_IN2_Pin|DI_IN3_Pin|DI_MAINS_STATE_Pin|DI_ACC_STATE_Pin
                          |DI_BOX_STATE_Pin|DI_INT1_ACCEL_Pin;
  GPIO_InitStruct.Mode = GPIO_MODE_INPUT;
  GPIO_InitStruct.Pull = GPIO_NOPULL;
  HAL_GPIO_Init(GPIOB, &GPIO_InitStruct);

  /*Configure GPIO pins : DI_SOS_STATE_Pin DI_IN1_Pin */
  GPIO_InitStruct.Pin = DI_SOS_STATE_Pin|DI_IN1_Pin;
  GPIO_InitStruct.Mode = GPIO_MODE_INPUT;
  GPIO_InitStruct.Pull = GPIO_NOPULL;
  HAL_GPIO_Init(GPIOA, &GPIO_InitStruct);

  /*Configure GPIO pins : DO_GSM_VCC_EN_Pin DO_PWRKEY_Pin */
  GPIO_InitStruct.Pin = DO_GSM_VCC_EN_Pin|DO_PWRKEY_Pin;
  GPIO_InitStruct.Mode = GPIO_MODE_OUTPUT_PP;
  GPIO_InitStruct.Pull = GPIO_NOPULL;
  GPIO_InitStruct.Speed = GPIO_SPEED_FREQ_LOW;
  HAL_GPIO_Init(GPIOC, &GPIO_InitStruct);

  /*Configure GPIO pins : DO_LED_PWR_Pin DO_LED_NET_Pin DO_LED_GPS_Pin */
  GPIO_InitStruct.Pin = DO_LED_PWR_Pin|DO_LED_NET_Pin|DO_LED_GPS_Pin;
  GPIO_InitStruct.Mode = GPIO_MODE_OUTPUT_PP;
  GPIO_InitStruct.Pull = GPIO_NOPULL;
  GPIO_InitStruct.Speed = GPIO_SPEED_FREQ_LOW;
  HAL_GPIO_Init(GPIOD, &GPIO_InitStruct);

  /*Configure GPIO pins : DO_OUT1_Pin DO_OUT2_Pin DO_5V_OUT_EN_Pin DO_OUT3_P_LED_Pin */
  GPIO_InitStruct.Pin = DO_OUT1_Pin|DO_OUT2_Pin|DO_5V_OUT_EN_Pin|DO_OUT3_P_LED_Pin;
  GPIO_InitStruct.Mode = GPIO_MODE_OUTPUT_PP;
  GPIO_InitStruct.Pull = GPIO_NOPULL;
  GPIO_InitStruct.Speed = GPIO_SPEED_FREQ_LOW;
  HAL_GPIO_Init(GPIOB, &GPIO_InitStruct);

}

/* USER CODE BEGIN 4 */
// Callback: timer has rolled over
void HAL_TIM_PeriodElapsedCallback(TIM_HandleTypeDef *htim)
{
  // Check which version of the timer triggered this callback and toggle LED
  if (htim == &htim6 )
  {

    //;
  }
}
void timedWork(){
	HAL_GPIO_TogglePin(GPIOD, DO_LED_GPS_Pin);

		//%%%%%%%    AccGyro Rest    %%%%%%
	    if (AccGyroStatus1==0){AccGyroStatus=detectAcc();}
	    if (AccGyroStatus>0){AccGyroStatus1=AccGyroStatus;}

}

float stor(const char* str) {
    float result = 0;
    float sign = *str == '-' ? str++, -1 : 1;
    while (*str >= '0' && *str <= '9') {
        result *= 10;
        result += *str - '0';
        str++;
    }
    if (*str == ',' || *str == '.') {
        str++;
        float multiplier = 0.1;
        while (*str >= '0' && *str <= '9') {
            result += (*str - '0') * multiplier;
            multiplier /= 10;
            str++;
        }
    }
    result *= sign;
    if (*str == 'e' || *str == 'E') {
        str++;
        float powerer = *str == '-'? str++, 0.1 : 10;
        float power = 0;
        while (*str >= '0' && *str <= '9') {
            power *= 10;
            power += *str - '0';
            str++;
        }
        result *= pow(powerer, power);
    }
    return result;
}

void HAL_UART_TxCpltCallback(UART_HandleTypeDef *huart)
{

}
void HAL_UART_RxCpltCallback(UART_HandleTypeDef *huart){
	{

	  HAL_GPIO_TogglePin (GPIOD, DO_LED_GPS_Pin);
	//Debug_Tx("V");
	if(huart==&huart2){
		if(dnlfile==0){
		if(strlen((char*)gpsData)>10){
			ProcessGPS((char*)gpsData);
			getGPSString();
			timedWork();
			ReadAllGPIO();
		}
		if(DMAon==1){
		if(strlen((char*)gpsData)>0) memset((char*)gpsData,0,999);
		//__HAL_UART_CLEAR_IT(&huart2, UART_CLEAR_NEF|UART_CLEAR_OREF);
		HAL_UART_Receive_DMA(&huart2, gpsData, 900);}
		}
	}
	if(huart==&huart1){
		if(strlen((char*)GSMData)<900){
		    if(GSMBuff[0]!=0)	strcat(GSMData,(char*)GSMBuff);
		}

		if(DMAon==1){
		GSMBuff[0]=0;
		//__HAL_UART_CLEAR_IT(&huart1, UART_CLEAR_NEF|UART_CLEAR_OREF);
		HAL_UART_Receive_DMA(&huart1, GSMBuff, 1);
		}
	}
	}

}

void HAL_UART_ErrorCallback(UART_HandleTypeDef *huart){
	if(huart==&huart2){

		if(dnlfile==0){
		if(DMAon==1){
		//Debug_Tx("GPSErr");
    	if(strlen((char*)gpsData)>0) memset((char*)gpsData,0,999);
    	__HAL_UART_CLEAR_IT(&huart2, UART_CLEAR_NEF|UART_CLEAR_OREF);
    	HAL_UART_Receive_DMA(&huart2, gpsData, 900);
		}
		}
	}
	if(huart==&huart1){

		if(DMAon==1){
		//Debug_Tx("GSMErr");
		GSMBuff[0]=0;
    	__HAL_UART_CLEAR_IT(&huart2, UART_CLEAR_NEF|UART_CLEAR_OREF);
    	HAL_UART_Receive_DMA(&huart1, GSMBuff, 1);
		}
	}

}

void restartGSMuart(){GSMBuff[0]=0;
__HAL_UART_CLEAR_IT(&huart2, UART_CLEAR_NEF|UART_CLEAR_OREF);
HAL_UART_Receive_DMA(&huart1, GSMBuff, 1);

}
void initFirstRun(){
	ClearQueue();
	writeConfig("AS-o1-A-8888\0","in sim no1234567891234in sim no\0","out sim no 123456789123456out sim no\0",
 	  				  "216.10.243.86","216.10.243.86","216.10.243.86",
	  				  "oooooooootttttthheerrrrrrOtherdatadddaaatttttttttaaaaaaaaa\0");

}

void ReadAllGPIO(){
	memset(StatusStrng,0,20);
	memset(Dig_io,0,30);

	//%%%%%%%    GPIO Read    %%%%%%
	Dig_in[0]=Read_DI_IN1();
	Dig_in[1]=Read_DI_IN2();
	Dig_in[2]=Read_DI_IN3();

	MAINS_STATE=Read_DI_MAINS_STATE();
	ACC_STATE=Read_DI_ACC_STATE();
	BOX_STATE=Read_DI_BOX_STATE();
	SOS_STATE=Read_DI_SOS_STATE();
	EXT_B=Read_EXT_B_SENSE();
	INT_B=Read_INT_B_SENSE();

	adc[0]=Read_ADC1();
	adc[1]=Read_ADC2();

	memset(StatusStrng,0,20);
	memset(Dig_io,0,30);

    sprintf(Dig_io, "%d%d%d0,%d%d,%d,%.1f,%.1f,,()",Dig_in[0],Dig_in[1],Dig_in[2],Digout1,Digout2,seqNo,adc[0],adc[1]);
	sprintf(StatusStrng, "%d,%d,%.1f,%.1f,%d,%c",ACC_STATE,MAINS_STATE,EXT_B,INT_B,SOS_STATE,BOX_STATE);

}

void GetHead(){

	memset(Head,0,100);
	strcpy(Head,InitStr);
	strcat(Head,VerStr);
	if((EmergencyStateON==-1 )& (SOS_STATE==1 )){EmergencyStateON=1;EmergencyStateOFF=-1;}
	if((EmergencyStateOFF==-1 )& (SOS_STATE==0) ){EmergencyStateOFF=1;EmergencyStateON=-1;}
	if((IgnitionTurnedON==-1 )&( MAINS_STATE==1 )){IgnitionTurnedON=1;IgnitionTurnedOFF=-1;}
	if((IgnitionTurnedOFF==-1) &( MAINS_STATE==0 )){IgnitionTurnedOFF=1;IgnitionTurnedON=-1;}
	if((InternalBatterLow==-1) & (INT_B<3.0 )){InternalBatterLow=1;InternalBatteryChargedAgain=-1;}
	if((InternalBatteryChargedAgain==-1 )& (INT_B>=3.0)){InternalBatteryChargedAgain=1;InternalBatterLow=-1;}
	if((MainBatteryDisconnect==-1 )& (INT_B<3.0 )){MainBatteryDisconnect=1;MainBatteryReconnect=-1;}
	if((MainBatteryReconnect==-1 )& (INT_B>=3.0)){MainBatteryReconnect=1;MainBatteryDisconnect=-1;}
	if(GSMSignal<=10){
		strcat(Head,AlartStr_HistoryPVTData);
	}
	else if(getSpeed()>SpeedThr){
		strcat(Head,AlartStr_OverSpeed);
	}
	else if(EmergencyWireBreak>0){
		strcat(Head,AlartStr_EmergencyWireBreak);
		EmergencyWireBreak=0;
	}
	else if(AccGyroStatus==1){
		strcat(Head,AlartStr_HarshAcceleration);
	}

	else if(AccGyroStatus==2){
		strcat(Head,AlartStr_HarshBreaking);
	}
	else if(AccGyroStatus==3){
		strcat(Head,AlartStr_RashTurning);
	}
	else if(EmergencyStateON>0){
		strcat(Head,AlartStr_EmergencyStateON);
		EmergencyStateON=0;
	}
	else if(EmergencyStateOFF>0){
		strcat(Head,AlartStr_EmergencyStateOFF);
		EmergencyStateOFF=0;
	}
	else if(IgnitionTurnedON>0){
		strcat(Head,AlartStr_IgnitionTurnedON);
		IgnitionTurnedON=0;
	}
	else if(IgnitionTurnedOFF>0){
		strcat(Head,AlartStr_IgnitionTurnedOFF);
		IgnitionTurnedOFF=0;
	}
	else if(BOX_STATE=='C'){
		strcat(Head,AlartStr_BoxTemper);
	}
	else if(InternalBatterLow>0){
		strcat(Head,AlartStr_InternalBatterLow);
		InternalBatterLow=0;
	}
	else if(InternalBatteryChargedAgain>0){
		strcat(Head,AlartStr_InternalBatteryChargedAgain);
		InternalBatteryChargedAgain=0;
	}
	else if(MainBatteryDisconnect>0){
		strcat(Head,AlartStr_MainBatteryDisconnect);
		MainBatteryDisconnect=0;

	}
	else if(MainBatteryReconnect>0){
		strcat(Head,AlartStr_MainBatteryReconnect);
		MainBatteryReconnect=0;
	}
	else if(HistoryPVTData>0){
		strcat(Head,AlartStr_HistoryPVTData);
		HistoryPVTData=0;
	}
	else if(HealthPacket>0){
		strcat(Head,AlartStr_HealthPacket);
		HealthPacket=0;
	}
	else if(OTAParameterChange>0){
		strcat(Head,AlartStr_OTAParameterChange);
		OTAParameterChange=0;
	}
	else{
		strcat(Head,AlartStr_NormalPkt);
	}

	if(GSMSignal<=10){
			strcat(Head,PacketStatusStrHist);
	}else{
		strcat(Head,PacketStatusStrLive);
	}

	//%%%%%%%    AccGyro Rest    %%%%%%
    if (AccGyroStatus1>0){AccGyroStatus1=0;}

}

void TestRun(){

	if(errorlen>10){
		Debug_Tx("GSMUART error rebooting device");
		NVIC_SystemReset();
	}

	//printInt(seqNo);

	//%%%%%%%    GSM Info Read    %%%%%%
	int GSMinfoT=tic();
	GSMCellInfo();

	toc(GSMinfoT,"_________________________While loop GSMinfo");

	//%%%%%%%    Convert Numbers to string    %%%%%%

	// %%%%%%%%%%%%%%%%%%%%%%%%%Create Protocall %%%%%%%%%%%%%%%%%%%%%%%%%%%%%%
	GetHead();
	//Debug_Tx(Head);

	if (debug==1){
		memset(DataString,0,300);
		strcat(DataString,"Head:");
		strcat(DataString,Head);strcat(DataString,"\nRegno:");
		strcat(DataString,Regno);strcat(DataString,"\nGPSDS:");
		strcat(DataString,gpsDataRet);strcat(DataString,"\nIMEI:");
		strcat(DataString,IMEI);strcat(DataString,"\nSIMOP:");
		strcat(DataString,simop);strcat(DataString,"\nStratusString:");
		strcat(DataString,StatusStrng);strcat(DataString,"\nGsminfo:");
		strcat(DataString,gsminfo);strcat(DataString,"\nDig_io:");
		strcat(DataString,Dig_io);strcat(DataString,",\n\0");
		//Debug_Tx(DataString);
	}
    memset(DataString,0,300);
	strcat(DataString,Head);strcat(DataString,",");
	strcat(DataString,IMEI);strcat(DataString,",");
	strcat(DataString,Regno);strcat(DataString,",");
	strcat(DataString,gpsDataRet);strcat(DataString,",");
	strcat(DataString,simop);strcat(DataString,",");
 	strcat(DataString,StatusStrng);strcat(DataString,",");
 	strcat(DataString,gsminfo);strcat(DataString,",");
 	strcat(DataString,Dig_io);strcat(DataString,"\0");
 	// %%%%%%%%%%%%%%%%%%%%%%%%%Add Checksum %%%%%%%%%%%%%%%%%%%%%%%%%%%%%%

    sprintf(checksum, "%02x",nmea0183_checksum(DataString));
    strcat(DataString,"*\0");
    strcat(DataString,checksum);

    if (debug==1){
    		Debug_Tx(DataString);
    }
    if(ServerConnected==1){
    	while(ReadQdata()>0){
			ProcessTCPAll( ReadMDataS);
    	}
    	// %%%%%%%%%%%%%%%%%%%%%%%%Send Protocall %%%%%%%%%%%%%%%%%%%%%%%%%%%%%%
    	int tcpsendT=tic();

     	ProcessTCPAll(DataString);
     	toc( tcpsendT,"_________________________While loop tcp send data");
     	RunCnt=0;
    }
    else{
    	if (debug==1){
    		Debug_Tx("No GSM Signal Saving Data to Memory----");
    	}
    	WriteQdata((uint8_t*)DataString, strlen(DataString)+1);
    	RunCnt++;
    	if(RunCnt>10){
    		//InitGSM();
    		RunCnt=0;
    	}

    	//HAL_Delay(5000);
    }

	/*while(TimeDelay(TimeCount,5)==1){
		HAL_Delay(10);
		timedWork();

	}
	*/
	TimeCount=tic();

 	//ProcessTCPAll(TracIP,"6055", DataString);
 	//ProcessTCPAll("34.74.249.18","300", DataString);
 	//ProcessTCPAll("34.74.249.18","300", DataString, "taisysnet");

 	seqNo=seqNo+1;

}

static void Debug_Tx(char _out[]){

	__HAL_UART_CLEAR_IT(&huart3, UART_CLEAR_NEF|UART_CLEAR_OREF);
	HAL_UART_Transmit(&huart3, (uint8_t *) _out, strlen(_out), 5000);
	char newline[2] = "\r\n";
	HAL_UART_Transmit(&huart3, (uint8_t *) newline, 2, 10);

}

static char* Debug_Rx(){

	__HAL_UART_CLEAR_IT(&huart3, UART_CLEAR_NEF|UART_CLEAR_OREF);
	HAL_UART_Receive(&huart3, (uint8_t *)inn, 1000, 300);
	return(inn);

}

static void GSM_Tx(const char _out[]){
	 __HAL_UART_CLEAR_IT(&huart1, UART_CLEAR_NEF|UART_CLEAR_OREF);
		HAL_UART_Transmit(&huart1, (uint8_t *) _out, strlen(_out), 300);
	//memset(_out,0,strlen(_out));
}

static void GSM_TxL(const char _out[]){

	  __HAL_UART_CLEAR_IT(&huart1, UART_CLEAR_NEF|UART_CLEAR_OREF);
	HAL_UART_Transmit(&huart1, (uint8_t *) _out, strlen(_out), 5000);
	//memset(_out,0,strlen(_out));
}

/*
static void GPS_Tx(const char _out[]){
	__HAL_UART_CLEAR_IT(&huart2, UART_CLEAR_NEF|UART_CLEAR_OREF);
	HAL_UART_Transmit(&huart2, (uint8_t *) _out, strlen(_out), 300);
	//memset(_out,0,strlen(_out));
}

static char* GSM_RxL(){
	memset(GSMData,0,1000);
	//memset(ret,0,1000);
	__HAL_UART_CLEAR_IT(&huart1, UART_CLEAR_NEF|UART_CLEAR_OREF);
	HAL_UART_Receive(&huart1, (uint8_t *)GSMData, 500, 350);
	//timedWork();
	return(GSMData);

}

static char* GSM_Rx(){
	GSMBuff[0]=0;
	    	//__HAL_UART_CLEAR_IT(&huart2, UART_CLEAR_NEF|UART_CLEAR_OREF);
	HAL_UART_Receive_DMA(&huart1, GSMBuff, 1);
	memset(GSMData,0,1000);

	  __HAL_UART_CLEAR_IT(&huart1, UART_CLEAR_NEF|UART_CLEAR_OREF);
	HAL_UART_Receive(&huart1, (uint8_t *)GSMData, 100, 50);

	return(GSMData);
}

*/

void Run(){
	/*
	if(errorlen>10){
		Debug_Tx("GSMUART error rebooting device");
		//NVIC_SystemReset();
	}

	gpsSt=0;
 	TriggerGPS();
 	int c=0;
 	while(gpsSt<1){
 		HAL_Delay(100);
 		c++;
 		if (c>50){break;}
 	}
 	//HAL_Delay(1500);

	int Dig_in[3];
	char Dig_io[20];
    int Digout1=0, Digout2=0, MAINS_STATE=0, ACC_STATE=0,SOS_STATE=0;
	char BOX_STATE='O';
    float adc[2];
	float EXT_B=0,INT_B=0;
    char gpsds[1000];
	char gsminfo[200];
	char simop[25];
	char InitStr[]="$,T,TGBT\0";
	char VerStr[]=",1.0.0\0";
	char AlartStr_NormalPkt[]=",NR,01\0";
	char AlartStr_HistoryPVTData[]=",NR,02\0";
	char AlartStr_MainBatteryDisconnect[]=",BD,03\0";
	char AlartStr_MainBatteryReconnect[]=",BR,06\0";
	char AlartStr_InternalBatterLow[]=",BL,04\0";
	char AlartStr_InternalBatteryChargedAgain[]=",BH,05\0";
	char AlartStr_BoxTemper[]=",TA,09\0";
	char AlartStr_IgnitionTurnedON[]=",IN,07\0";
	char AlartStr_IgnitionTurnedOFF[]=",IF,08\0";
	char AlartStr_EmergencyStateON[]=",EA,10\0";
	char AlartStr_EmergencyStateOFF[]=",EA,11\0";
	char AlartStr_HarshAcceleration[]=",HA,14\0";
	char AlartStr_HarshBreaking[]=",HB,13\0";
	char AlartStr_RashTurning[]=",RT,15\0";
	char AlartStr_OTAParameterChange[]=",CC,12\0";
	char AlartStr_HealthPacket[]=",HP,00\0";
	char AlartStr_EmergencyWireBreak[]=",DT,16\0";
	char AlartStr_OverSpeed[]=",OS,17\0";
	char PacketStatusStrLive[]=",L\0";
	//char PacketStatusStrHist[]=",H\0";
	char Head[100];

	char StatusStrng[50];
	memset(gpsds,0,100);
	memset(gsminfo,0,200);
	memset(StatusStrng,0,200);

	//%%%%%%%    GPIO Read    %%%%%%
	Dig_in[0]=Read_DI_IN1();
	Dig_in[1]=Read_DI_IN2();
	Dig_in[2]=Read_DI_IN3();

	MAINS_STATE=Read_DI_MAINS_STATE();
	ACC_STATE=Read_DI_ACC_STATE();
	BOX_STATE=Read_DI_BOX_STATE();
	SOS_STATE=Read_DI_SOS_STATE();
	EXT_B=Read_EXT_B_SENSE();
	INT_B=Read_INT_B_SENSE();

	adc[0]=Read_ADC1();
	adc[1]=Read_ADC2();
	if(EXT_B>7){
		SET_LED_PWR(1);
	}
	else{
		SET_LED_PWR(0);
	}

	//%%%%%%%    AccGyro Read    %%%%%%

	//%%%%%%%    GPS Read    %%%%%%
	strcpy(gpsds,gpsDataRet);
	//HAL_Delay(1000);

Debug_Tx("Error: LOW GSM Signal");

	//%%%%%%%    GSM Info Read    %%%%%%

	strcpy(gsminfo,GSMCellInfo());
	strcpy(simop, GSMSimOperator());
	//Debug_Tx(gsminfo);
	//strcpy(IMEI,"-----imei----\0");
	//strcpy(gsminfo,"--cell info--\0");
	//strcpy(simop, "-operator-\0");

	//Debug_Tx(IMEI);
	//Debug_Tx(Regno);
	//strcpy(Regno, "--RegNO-\0");

	//%%%%%%%    Convert Numbers to string    %%%%%%
	//strcpy(Dig_io, "----Dig io---\0");

    sprintf(Dig_io, "%d%d%d0,%d%d,%d",Dig_in[0],Dig_in[1],Dig_in[2],Digout1,Digout2,seqNo);
	sprintf(StatusStrng, "%d,%d,%f,%f,%d,%c",ACC_STATE,MAINS_STATE,EXT_B,INT_B,SOS_STATE,BOX_STATE);

	// %%%%%%%%%%%%%%%%%%%%%%%%%Create Protocall %%%%%%%%%%%%%%%%%%%%%%%%%%%%%%

	memset(Head,0,100);
	strcpy(Head,InitStr);
	strcat(Head,VerStr);

	int HistoryPVTData=0;
	int HealthPacket=0;
	int OTAParameterChange=0;

	int EmergencyStateON=-1;
	int EmergencyStateOFF=0;
	int IgnitionTurnedON=0;
	int IgnitionTurnedOFF=0;
	int InternalBatterLow=0;
	int InternalBatteryChargedAgain=0;
	int MainBatteryDisconnect=0;
	int MainBatteryReconnect=0;
	int EmergencyWireBreak=0;

	if((EmergencyStateON==-1 )& (SOS_STATE==1 )){EmergencyStateON=1;EmergencyStateOFF=-1;}
	if((EmergencyStateOFF==-1 )& (SOS_STATE==0) ){EmergencyStateOFF=1;EmergencyStateON=-1;}
	if((IgnitionTurnedON==-1 )&( MAINS_STATE==1 )){IgnitionTurnedON=1;IgnitionTurnedOFF=-1;}
	if((IgnitionTurnedOFF==-1) &( MAINS_STATE==0 )){IgnitionTurnedOFF=1;IgnitionTurnedON=-1;}
	if((InternalBatterLow==-1) & (INT_B<3.0 )){InternalBatterLow=1;InternalBatteryChargedAgain=-1;}
	if((InternalBatteryChargedAgain==-1 )& (INT_B>=3.0)){InternalBatteryChargedAgain=1;InternalBatterLow=-1;}
	if((MainBatteryDisconnect==-1 )& (INT_B<3.0 )){MainBatteryDisconnect=1;MainBatteryReconnect=-1;}
	if((MainBatteryReconnect==-1 )& (INT_B>=3.0)){MainBatteryReconnect=1;MainBatteryDisconnect=-1;}

	if(getSpeed()>SpeedThr){
		strcat(Head,AlartStr_OverSpeed);
	}
	else if(EmergencyWireBreak>0){
		strcat(Head,AlartStr_EmergencyWireBreak);
		EmergencyWireBreak=0;
	}
	else if(AccGyroStatus==1){
		strcat(Head,AlartStr_HarshAcceleration);
	}

	else if(AccGyroStatus==2){
		strcat(Head,AlartStr_HarshBreaking);
	}
	else if(AccGyroStatus==3){
		strcat(Head,AlartStr_RashTurning);
	}
	else if(EmergencyStateON>0){
		strcat(Head,AlartStr_EmergencyStateON);
		EmergencyStateON=0;
	}
	else if(EmergencyStateOFF>0){
		strcat(Head,AlartStr_EmergencyStateOFF);
		EmergencyStateOFF=0;
	}
	else if(IgnitionTurnedON>0){
		strcat(Head,AlartStr_IgnitionTurnedON);
		IgnitionTurnedON=0;
	}
	else if(IgnitionTurnedOFF>0){
		strcat(Head,AlartStr_IgnitionTurnedOFF);
		IgnitionTurnedOFF=0;
	}
	else if(BOX_STATE=='C'){
		strcat(Head,AlartStr_BoxTemper);
	}
	else if(InternalBatterLow>0){
		strcat(Head,AlartStr_InternalBatterLow);
		InternalBatterLow=0;
	}
	else if(InternalBatteryChargedAgain>0){
		strcat(Head,AlartStr_InternalBatteryChargedAgain);
		InternalBatteryChargedAgain=0;
	}
	else if(MainBatteryDisconnect>0){
		strcat(Head,AlartStr_MainBatteryDisconnect);
		MainBatteryDisconnect=0;

	}
	else if(MainBatteryReconnect>0){
		strcat(Head,AlartStr_MainBatteryReconnect);
		MainBatteryReconnect=0;
	}
	else if(HistoryPVTData>0){
		strcat(Head,AlartStr_HistoryPVTData);
		HistoryPVTData=0;
	}
	else if(HealthPacket>0){
		strcat(Head,AlartStr_HealthPacket);
		HealthPacket=0;
	}
	else if(OTAParameterChange>0){
		strcat(Head,AlartStr_OTAParameterChange);
		OTAParameterChange=0;
	}
	else{
		strcat(Head,AlartStr_NormalPkt);
	}
	strcat(Head,PacketStatusStrLive);
	//Debug_Tx(Head);

	if (debug==1){
		memset(DataString,0,400);
		strcat(DataString,"Head:");
		strcat(DataString,Head);strcat(DataString,"\nRegno:");
		strcat(DataString,Regno);strcat(DataString,"\nGPSDS:");
		strcat(DataString,gpsds);strcat(DataString,"\nIMEI:");
		strcat(DataString,IMEI);strcat(DataString,"\nSIMOP:");
		strcat(DataString,simop);strcat(DataString,"\nStratusString:");
		strcat(DataString,StatusStrng);strcat(DataString,"\nGsminfo:");
		strcat(DataString,gsminfo);strcat(DataString,"\nDig_io:");
		strcat(DataString,Dig_io);strcat(DataString,",\n\0");
		Debug_Tx(DataString);
	}
    memset(DataString,0,400);
	strcat(DataString,Head);strcat(DataString,",");
	strcat(DataString,IMEI);strcat(DataString,",");
	strcat(DataString,Regno);strcat(DataString,",");
	strcat(DataString,gpsds);strcat(DataString,",");
	strcat(DataString,simop);strcat(DataString,",");
 	strcat(DataString,StatusStrng);strcat(DataString,",");
 	strcat(DataString,gsminfo);strcat(DataString,",");
 	strcat(DataString,Dig_io);strcat(DataString,",\0");
 	// %%%%%%%%%%%%%%%%%%%%%%%%%Add Checksum %%%%%%%%%%%%%%%%%%%%%%%%%%%%%%
    char checksum[3];
    sprintf(checksum, "%02x",nmea0183_checksum(DataString));
    strcat(DataString,checksum);strcat(DataString,",*\0");

	// %%%%%%%%%%%%%%%%%%%%%%%%Send Protocall %%%%%%%%%%%%%%%%%%%%%%%%%%%%%%
 	//Debug_Tx(DataString);
 	ProcessTCPAll(TracIP,"6055", DataString);
 	//ProcessTCPAll("216.10.243.86","6055", DataString);
 	//ProcessTCPAll("34.74.249.18","300", DataString);
 	//ProcessTCPAll("34.74.249.18","300", DataString, "taisysnet");
 	seqNo=seqNo+1;
 	//HAL_Delay(2000);
*/

}

/* USER CODE END 4 */

void Error_Handler(void)
{
}

/************************ (C) COPYRIGHT STMicroelectronics *****END OF FILE****/
